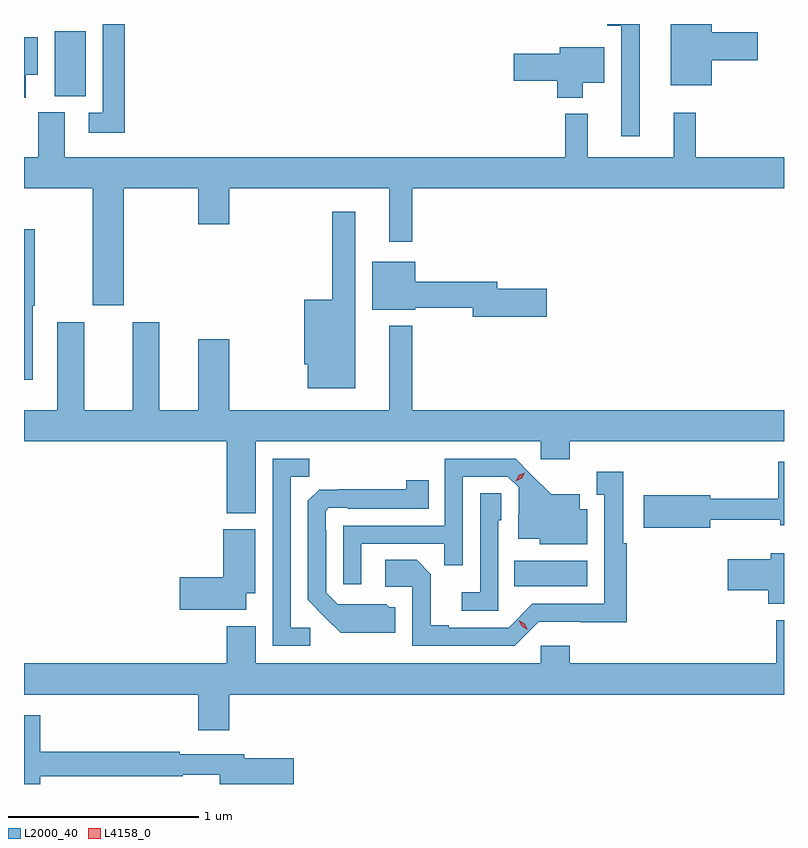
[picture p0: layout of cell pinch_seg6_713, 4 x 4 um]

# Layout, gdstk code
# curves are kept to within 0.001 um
import gdstk
lib = gdstk.Library(unit=1e-6, precision=1e-09)
def R(c, l, rs):  # rectangles x0, y0, x1, y1
    for r in rs: c.add(gdstk.rectangle(r[:2], r[2:], *l))
def P(c, l, *ps):  # polygons
    for p in ps: c.add(gdstk.Polygon(p, *l))
L2000_40 = (2000, 40)
L4158_0 = (4158, 0)

pinch_seg6_713 = lib.new_cell('pinch_seg6_713')
R(pinch_seg6_713, L2000_40, [(598.24,947.906,598.624,948.04), (595.82,950.485,595.984,950.828)])
P(pinch_seg6_713, L2000_40, [(596.189,950.865),(596.073,950.865),(596.073,950.397),(596.001,950.397),(596.001,950.292),(596.189,950.292)],
  [(599.278,950.675),(599.521,950.675),(599.521,950.822),(599.278,950.822),(599.278,950.865),(599.063,950.865),(599.063,950.543),(599.278,950.543)],
  [(598.9,950.865),(598.73,950.865),(598.73,950.855),(598.803,950.855),(598.803,950.274),(598.9,950.274)],
  [(595.669,950.597),(595.732,950.597),(595.732,950.794),(595.659,950.794),(595.659,950.478),(595.669,950.478)],
  [(598.6,950.555),(598.714,950.555),(598.714,950.743),(598.478,950.743),(598.478,950.708),(598.236,950.708),(598.236,950.566),(598.466,950.566),(598.466,950.477),(598.6,950.477)],
  [(596.185,950),(596.576,950),(596.576,949.812),(596.74,949.812),(596.74,950),(597.581,950),(597.581,949.719),(597.703,949.719),(597.703,950),(599.659,950),(599.659,950.164),(599.195,950.164),(599.195,950.398),(599.078,950.398),(599.078,950.164),(598.625,950.164),(598.625,950.392),(598.507,950.392),(598.507,950.164),(595.873,950.164),(595.873,950.4),(595.733,950.4),(595.733,950.164),(595.659,950.164),(595.659,950),(596.021,950),(596.021,949.386),(596.185,949.386)],
  [(597.403,949.876),(597.282,949.876),(597.282,949.414),(597.134,949.414),(597.134,949.074),(597.152,949.074),(597.152,948.947),(597.403,948.947)],
  [(595.705,949.381),(595.715,949.381),(595.715,949.784),(595.659,949.784),(595.659,948.993),(595.705,948.993)],
  [(598.411,949.472),(598.15,949.472),(598.15,949.508),(597.718,949.508),(597.718,949.615),(597.491,949.615),(597.491,949.361),(597.718,949.361),(597.718,949.372),(598.022,949.372),(598.022,949.325),(598.411,949.325)],
  [(596.878,948.668),(598.38,948.668),(598.38,948.573),(598.532,948.573),(598.532,948.668),(599.659,948.668),(599.659,948.832),(597.703,948.832),(597.703,949.276),(597.581,949.276),(597.581,948.832),(596.74,948.832),(596.74,949.207),(596.576,949.207),(596.576,948.832),(596.371,948.832),(596.371,949.294),(596.231,949.294),(596.231,948.832),(595.975,948.832),(595.975,949.294),(595.835,949.294),(595.835,948.832),(595.659,948.832),(595.659,948.668),(596.726,948.668),(596.726,948.29),(596.878,948.29)],
  [(597.166,947.688),(597.063,947.688),(597.063,948.481),(597.159,948.481),(597.159,948.576),(596.967,948.576),(596.967,947.592),(597.166,947.592)],
  [(597.435,948.129),(597.871,948.129),(597.871,948.016),(597.969,948.016),(597.969,948.483),(598.206,948.483),(598.263,948.426),(598.263,948.284),(598.259,948.284),(598.259,948.155),(598.374,948.155),(598.374,948.128),(598.624,948.128),(598.624,948.312),(598.585,948.312),(598.585,948.391),(598.433,948.391),(598.246,948.576),(597.873,948.576),(597.873,948.225),(597.339,948.225),(597.339,947.916),(597.435,947.916)],
  [(599.272,948.257),(599.639,948.257),(599.639,948.227),(599.659,948.227),(599.659,948.562),(599.628,948.562),(599.628,948.367),(599.272,948.367),(599.272,948.385),(598.92,948.385),(598.92,948.215),(599.272,948.215)],
  [(598.368,947.718),(598.831,947.717),(598.831,948.131),(598.813,948.131),(598.813,948.508),(598.673,948.508),(598.673,948.387),(598.712,948.387),(598.712,947.814),(598.335,947.814),(598.209,947.688),(597.895,947.688),(597.895,947.701),(597.801,947.701),(597.801,947.968),(597.725,948.044),(597.561,948.044),(597.561,947.904),(597.702,947.904),(597.702,947.592),(598.242,947.592)],
  [(597.613,947.796),(597.582,947.796),(597.566,947.812),(597.309,947.811),(597.249,947.871),(597.249,948.2),(597.246,948.2),(597.246,948.3),(597.264,948.318),(597.364,948.318),(597.364,948.315),(597.788,948.315),(597.788,948.463),(597.67,948.463),(597.67,948.416),(597.212,948.415),(597.153,948.356),(597.153,947.834),(597.325,947.66),(597.613,947.66)],
  [(598.155,948.252),(598.17,948.252),(598.17,948.395),(598.059,948.395),(598.059,947.875),(597.963,947.875),(597.963,947.778),(598.155,947.778)],
  [(596.83,947.87),(596.875,947.87),(596.875,948.205),(596.708,948.205),(596.708,947.954),(596.478,947.954),(596.478,947.783),(596.83,947.783)],
  [(599.659,948.079),(599.588,948.079),(599.588,948.049),(599.364,948.049),(599.364,947.884),(599.576,947.884),(599.576,947.813),(599.659,947.813)],
  [(596.74,947.336),(599.659,947.336),(599.659,947.728),(599.617,947.728),(599.617,947.5),(598.532,947.5),(598.532,947.593),(598.38,947.593),(598.38,947.5),(596.878,947.5),(596.878,947.695),(596.726,947.695),(596.726,947.5),(595.659,947.5),(595.659,947.336),(596.576,947.336),(596.576,947.148),(596.74,947.148)],
  [(595.745,946.906),(596.494,946.906),(596.494,946.914),(596.69,946.914),(596.69,946.865),(597.079,946.865),(597.079,947.001),(596.818,947.001),(596.818,947.022),(596.48,947.022),(596.48,947.035),(595.745,947.035),(595.745,947.226),(595.659,947.226),(595.659,946.865),(595.745,946.865)])
P(pinch_seg6_713, L4158_0, [(598.311,947.676),(598.279,947.695),(598.262,947.728),(598.262,947.728),(598.263,947.728),(598.294,947.709),(598.311,947.676),(598.311,947.676)],
  [(598.247,948.459),(598.247,948.459),(598.264,948.489),(598.294,948.504),(598.295,948.504),(598.295,948.504),(598.278,948.474),(598.247,948.459)])

lib.write_gds('pinch_seg6_713.gds')
